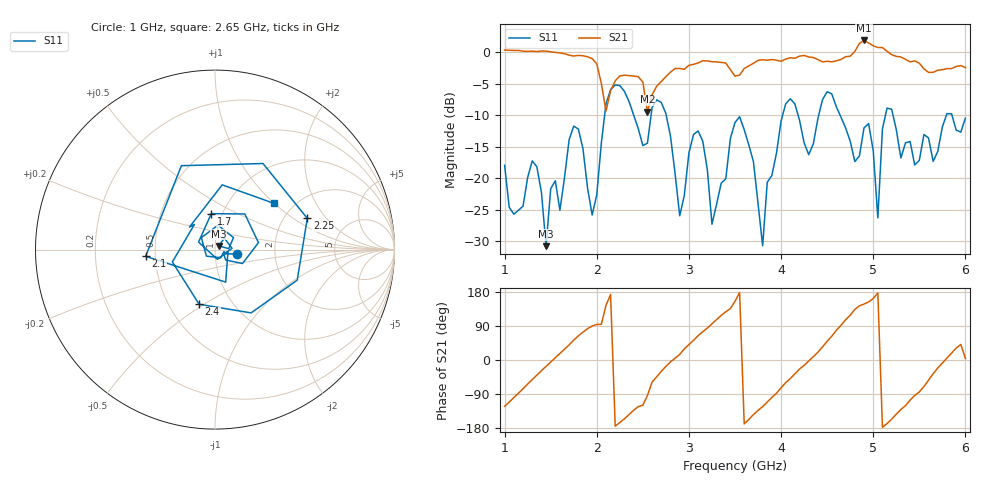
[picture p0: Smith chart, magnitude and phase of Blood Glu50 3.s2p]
! NanoVNA-App
! Date: 2024-03-20 20:05:56
! Start: 1GHz Stop: 6GHz Points: 101
! S-Parameter data: F S11 S21 S12 S22
# Hz S RI R 50
!  Frequency  S11_Real  S11_Imag  S21_Real  S21_Imag  S12_Real  S12_Imag  S22_Real  S22_Imag
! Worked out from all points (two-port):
!   101 points, 1 GHz to 6 GHz, reference 50 ohm
!   highest |S21| = 1.86 dB at 4.9 GHz (marker M1); lowest = -9.5 dB at 2.55 GHz (marker M2)
!   |S21| within 3 dB of the highest: start of sweep to 1.957 GHz; 4.652 GHz to 5.35 GHz (698.1 MHz wide, 14 % of centre)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
!   lowest |S11| = -30.8 dB at 1.45 GHz (marker M3), VSWR 1.06, Z = 52 + j2.18 ohm
!   |S11| at or under -10 dB: start of sweep to 2.086 GHz; 2.753 GHz to 4.017 GHz (1.264 GHz wide, 37.3 % of centre); 5.214 GHz to 5.794 GHz (579.9 MHz wide, 10.5 % of centre)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
!   S12 and S22 are empty: the file has one direction only
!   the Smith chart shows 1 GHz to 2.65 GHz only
!   S11 on the Smith chart (normalised r, x): 1 GHz: 1.28, -0.06; 1.7 GHz: 0.89, +0.37; 2.1 GHz: 0.44, -0.04; 2.25 GHz: 2.65, +1.31; 2.4 GHz: 0.70, -0.48; 2.65 GHz: 1.60, +1.00
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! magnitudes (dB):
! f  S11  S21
! 1 GHz  -18.0  0.3
! 1.45 GHz  -30.8  0.2
! 1.7 GHz  -13.9  -0.5
! 1.85 GHz  -15.3  -0.6
! 1.95 GHz  -25.9  -1.0
! 2.1 GHz  -8.2  -9.4
! 2.25 GHz  -5.3  -3.8
! 2.4 GHz  -10.0  -3.8
! 2.55 GHz  -14.4  -9.5
! 2.65 GHz  -7.6  -5.4
! 2.7 GHz  -8.0  -4.7
! 2.9 GHz  -26.0  -2.6
! 3.1 GHz  -12.5  -1.7
! 3.25 GHz  -27.3  -1.5
! 3.5 GHz  -11.2  -3.8
! 3.8 GHz  -30.8  -1.2
! 4.05 GHz  -8.2  -1.1
! 4.35 GHz  -14.6  -0.8
! 4.9 GHz  -12.0  1.9
! 5.05 GHz  -26.3  0.7
! 5.2 GHz  -9.1  -0.4
! 6 GHz  -10.5  -2.5
